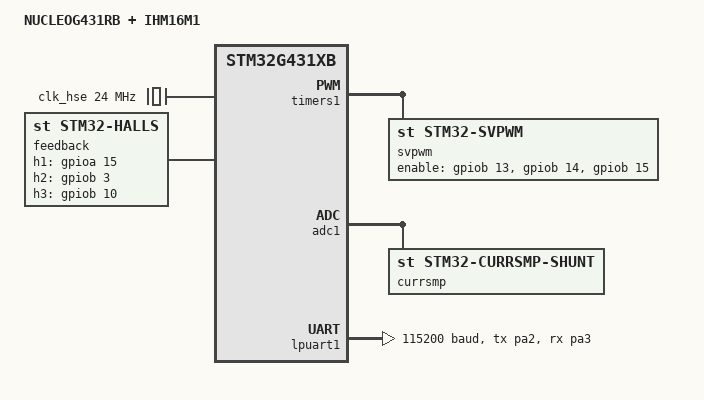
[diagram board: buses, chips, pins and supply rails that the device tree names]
/*
 * Copyright (c) 2021 Teslabs Engineering S.L.
 *
 * SPDX-License-Identifier: Apache-2.0
 */

/dts-v1/;
#include <st/g4/stm32g431Xb.dtsi>
#include <st/g4/stm32g431r(6-8-b)tx-pinctrl.dtsi>
#include <dts-bindings/adc/stm32g4xx.h>

/ {
	model = "NUCLEOG431RB + IHM16M1";

	chosen {
		zephyr,console = &lpuart1;
		zephyr,shell-uart = &lpuart1;
		zephyr,sram = &sram0;
		zephyr,flash = &flash0;
	};
};

&clk_hse {
	clock-frequency = <DT_FREQ_M(24)>;
	status = "okay";
};

&pll {
	div-m = <6>;
	mul-n = <85>;
	div-p = <7>;
	div-q = <2>;
	div-r = <2>;
	clocks = <&clk_hse>;
	status = "okay";
};

&rcc {
	clocks = <&pll>;
	clock-frequency = <DT_FREQ_M(170)>;
	ahb-prescaler = <1>;
	apb1-prescaler = <1>;
	apb2-prescaler = <1>;
};

&gpioc {
	status = "okay";
};

&timers1 {
	svpwm: svpwm {
		compatible = "st,stm32-svpwm";
		pinctrl-0 = <&tim1_ch1_pa8 &tim1_ch2_pa9 &tim1_ch3_pa10 &tim1_ocp_pa11>;
		pinctrl-names = "default";

		t-dead-ns = <0>;
		/* STSPIN830 rise time: tINd(ON) + tRISE (Table 5) */
		t-rise-ns = <670>;
		currsmp = <&currsmp>;
		enable-gpios = <&gpiob 13 GPIO_ACTIVE_HIGH>,
					   <&gpiob 14 GPIO_ACTIVE_HIGH>,
					   <&gpiob 15 GPIO_ACTIVE_HIGH>;
	};
};

&adc1 {
	currsmp: currsmp {
		compatible = "st,stm32-currsmp-shunt";
		pinctrl-0 = <&adc1_in2_pa1 &adc1_in12_pb1 &adc1_in15_pb0>;
		pinctrl-names = "default";

		adc-resolution = <12>;
		adc-tsample = <3>;
		adc-channels = <2 12 15>;
		adc-trigger = <STM32_ADC12_INJ_TRIG_TIM1_TRGO>;
	};
};

&timers2 {
	feedback: feedback {
		compatible = "st,stm32-halls";

		pinctrl-0 = <&tim2_ch1_pa15 &tim2_ch2_pb3 &tim2_ch3_pb10>;
		pinctrl-names = "default";

		h1-gpios = <&gpioa 15 0>;
		h2-gpios = <&gpiob 3 0>;
		h3-gpios = <&gpiob 10 0>;
		phase-shift = <60>;
	};
};

&lpuart1 {
	pinctrl-0 = <&lpuart1_tx_pa2 &lpuart1_rx_pa3>;
	pinctrl-names = "default";
	current-speed = <115200>;
	status = "okay";
};

/* FIXME: missing upstream */
&pinctrl {
	tim1_ocp_pa11: tim1_ocp_pa11 {
		pinmux = <STM32_PINMUX('A', 11, AF12)>;
	};
};
